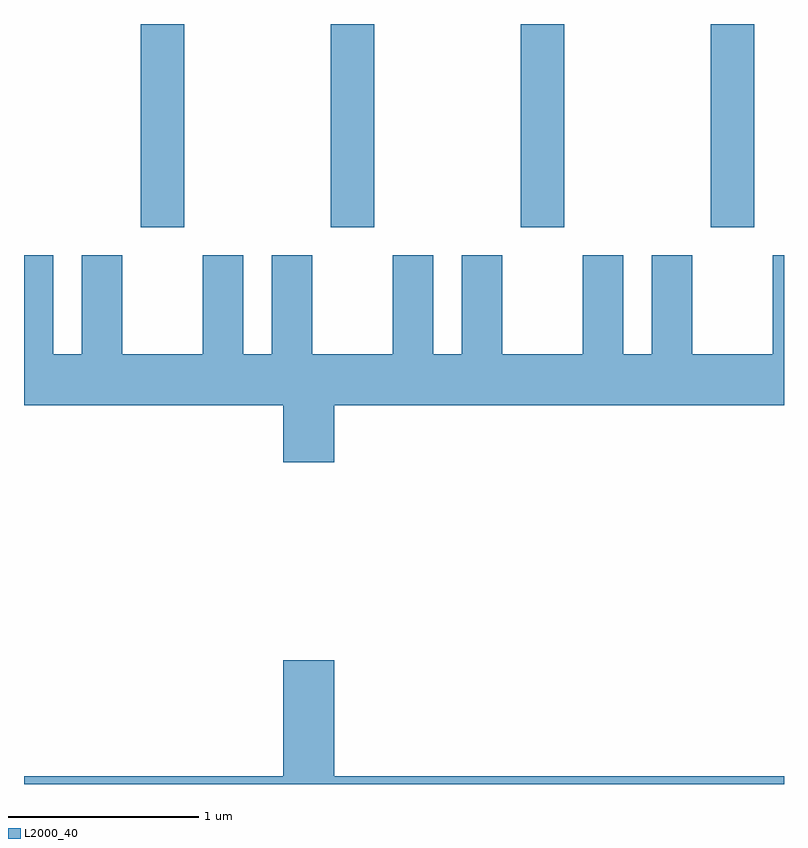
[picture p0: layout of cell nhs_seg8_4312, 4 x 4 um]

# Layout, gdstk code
import gdstk
lib = gdstk.Library(unit=1e-6, precision=1e-09)
def R(c, l, rs):  # rectangles x0, y0, x1, y1
    for r in rs: c.add(gdstk.rectangle(r[:2], r[2:], *l))
def A(c, l, x, y, w, h, nx, ny, dx, dy):  # array of equal rectangles
    R(c, l, [(x+i*dx, y+j*dy, x+i*dx+w, y+j*dy+h) for i in range(nx) for j in range(ny)])
def P(c, l, *ps):  # polygons
    for p in ps: c.add(gdstk.Polygon(p, *l))
L2000_40 = (2000, 40)

nhs_seg8_4312 = lib.new_cell('nhs_seg8_4312')
A(nhs_seg8_4312, L2000_40, 314.226, 1917.271, 0.228, 1.071, 4, 1, 1, 0)
P(nhs_seg8_4312, L2000_40, [(315.244,1916.336),(317.611,1916.336),(317.611,1917.124),(317.551,1917.124),(317.551,1916.604),(317.129,1916.604),(317.129,1917.124),(316.916,1917.124),(316.916,1916.604),(316.764,1916.604),(316.764,1917.124),(316.551,1917.124),(316.551,1916.604),(316.129,1916.604),(316.129,1917.124),(315.916,1917.124),(315.916,1916.604),(315.764,1916.604),(315.764,1917.124),(315.551,1917.124),(315.551,1916.604),(315.129,1916.604),(315.129,1917.124),(314.916,1917.124),(314.916,1916.604),(314.764,1916.604),(314.764,1917.124),(314.551,1917.124),(314.551,1916.604),(314.129,1916.604),(314.129,1917.124),(313.916,1917.124),(313.916,1916.604),(313.764,1916.604),(313.764,1917.124),(313.611,1917.124),(313.611,1916.336),(314.976,1916.336),(314.976,1916.036),(315.244,1916.036)],
  [(317.611,1914.384),(315.244,1914.384),(315.244,1914.994),(314.976,1914.994),(314.976,1914.384),(313.611,1914.384),(313.611,1914.342),(317.611,1914.342)])

lib.write_gds('nhs_seg8_4312.gds')
